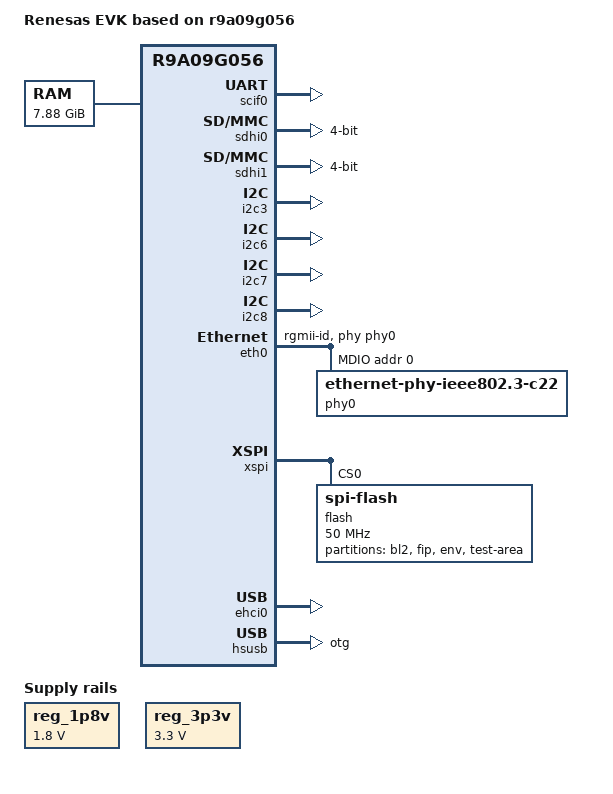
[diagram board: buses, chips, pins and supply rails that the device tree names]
// SPDX-License-Identifier: (GPL-2.0-only OR BSD-2-Clause)
/*
 * Device Tree Source for the RZ/V2N EVK board
 *
 * Copyright (C) 2024 Renesas Electronics Corp.
 */

/dts-v1/;
#include "r9a09g056.dtsi"
#include <dt-bindings/pinctrl/rzv2n-pinctrl.h>

/*
 * Please change the value of the below Macro
 * according to the selected sub board (eMMC or SD):
 *
 * Selector (eMMC_SD_SEL): 1: eMMC;	0: SD (default);
 */

#define eMMC_SD_SEL		0

/ {
	model = "Renesas EVK based on r9a09g056";
	compatible = "renesas,r9a09g056";

	aliases {
		serial0 = &scif0;
		mmc0 = &sdhi0;
		mmc1 = &sdhi1;
		i2c3 = &i2c3;
		i2c6 = &i2c6;
		i2c7 = &i2c7;
		i2c8 = &i2c8;
		spi0 = &xspi;
	};

	chosen {
		stdout-path = "serial0:115200n8";
	};

	memory@48000000 {
		device_type = "memory";
		/* first 128MB is reserved for secure area. */
		reg = <0x0 0x48000000 0x1 0xF8000000>;
	};

	reserved-memory {
		#address-cells = <2>;
		#size-cells = <2>;
		ranges;

		global_cma: linux,cma@58000000 {
			compatible = "shared-dma-pool";
			linux,cma-default;
			reusable;
			reg = <0x0 0x58000000 0x0 0x10000000>;
		};
	};

	reg_1p8v: regulator0 {
		compatible = "regulator-fixed";

		regulator-name = "fixed-1.8V";
		regulator-min-microvolt = <1800000>;
		regulator-max-microvolt = <1800000>;
		regulator-boot-on;
		regulator-always-on;
	};

	reg_3p3v: regulator1 {
		compatible = "regulator-fixed";

		regulator-name = "fixed-3.3V";
		regulator-min-microvolt = <3300000>;
		regulator-max-microvolt = <3300000>;
		regulator-boot-on;
		regulator-always-on;
	};

};

&extal_clk {
	clock-frequency = <24000000>;
};

&scif0 {
	status = "okay";
};

#if (eMMC_SD_SEL)
&sdhi0 {
	bus-width = <8>;
	non-removable;
	fixed-emmc-driver-type = <1>;
	status = "okay";
};
#else
&sdhi0 {
	bus-width = <4>;
	status = "okay";
};
#endif

&sdhi1 {
	bus-width = <4>;
	status = "okay";
};

&i2c3 {
	status = "okay";
};

&i2c6 {
	status = "okay";
};

&i2c7 {
	status = "okay";
};

&i2c8 {
	status = "okay";
};

&eth0 {
	status = "okay";
	phy-handle = <&phy0>;
	phy-mode = "rgmii-id";

	mdio {
		#address-cells = <1>;
		#size-cells = <0>;

		phy0: ethernet-phy@0 {
			compatible = "ethernet-phy-ieee802.3-c22";
			reg = <0>;
		};
	};
};

&xspi {
	status = "okay";

	flash@0 {
		compatible = "spi-flash", "jedec,spi-nor";
		reg = <0>;
		m25p,fast-read;
		spi-max-frequency = <50000000>;
		spi-tx-bus-width = <1>;
		spi-rx-bus-width = <1>;

		partitions {
			compatible = "fixed-partitions";
			#address-cells = <1>;
			#size-cells = <1>;

			partition@000000 {
				label = "bl2";
				reg = <0x00000000 0x0001D200>;
				read-only;
			};
			partition@01D200 {
				label = "fip";
				reg = <0x0001D200 0x001C2E00>;
				read-only;
			};
			partition@1E0000 {
				label = "env";
				reg = <0x001E0000 0x00020000>;
				read-only;
			};
			partition@200000 {
				label = "test-area";
				reg = <0x00200000 0x00E00000>;
			};
		};
	};
};

&ehci0 {
	status = "okay";
};

&hsusb {
	dr_mode = "otg";
	status = "okay";
};
